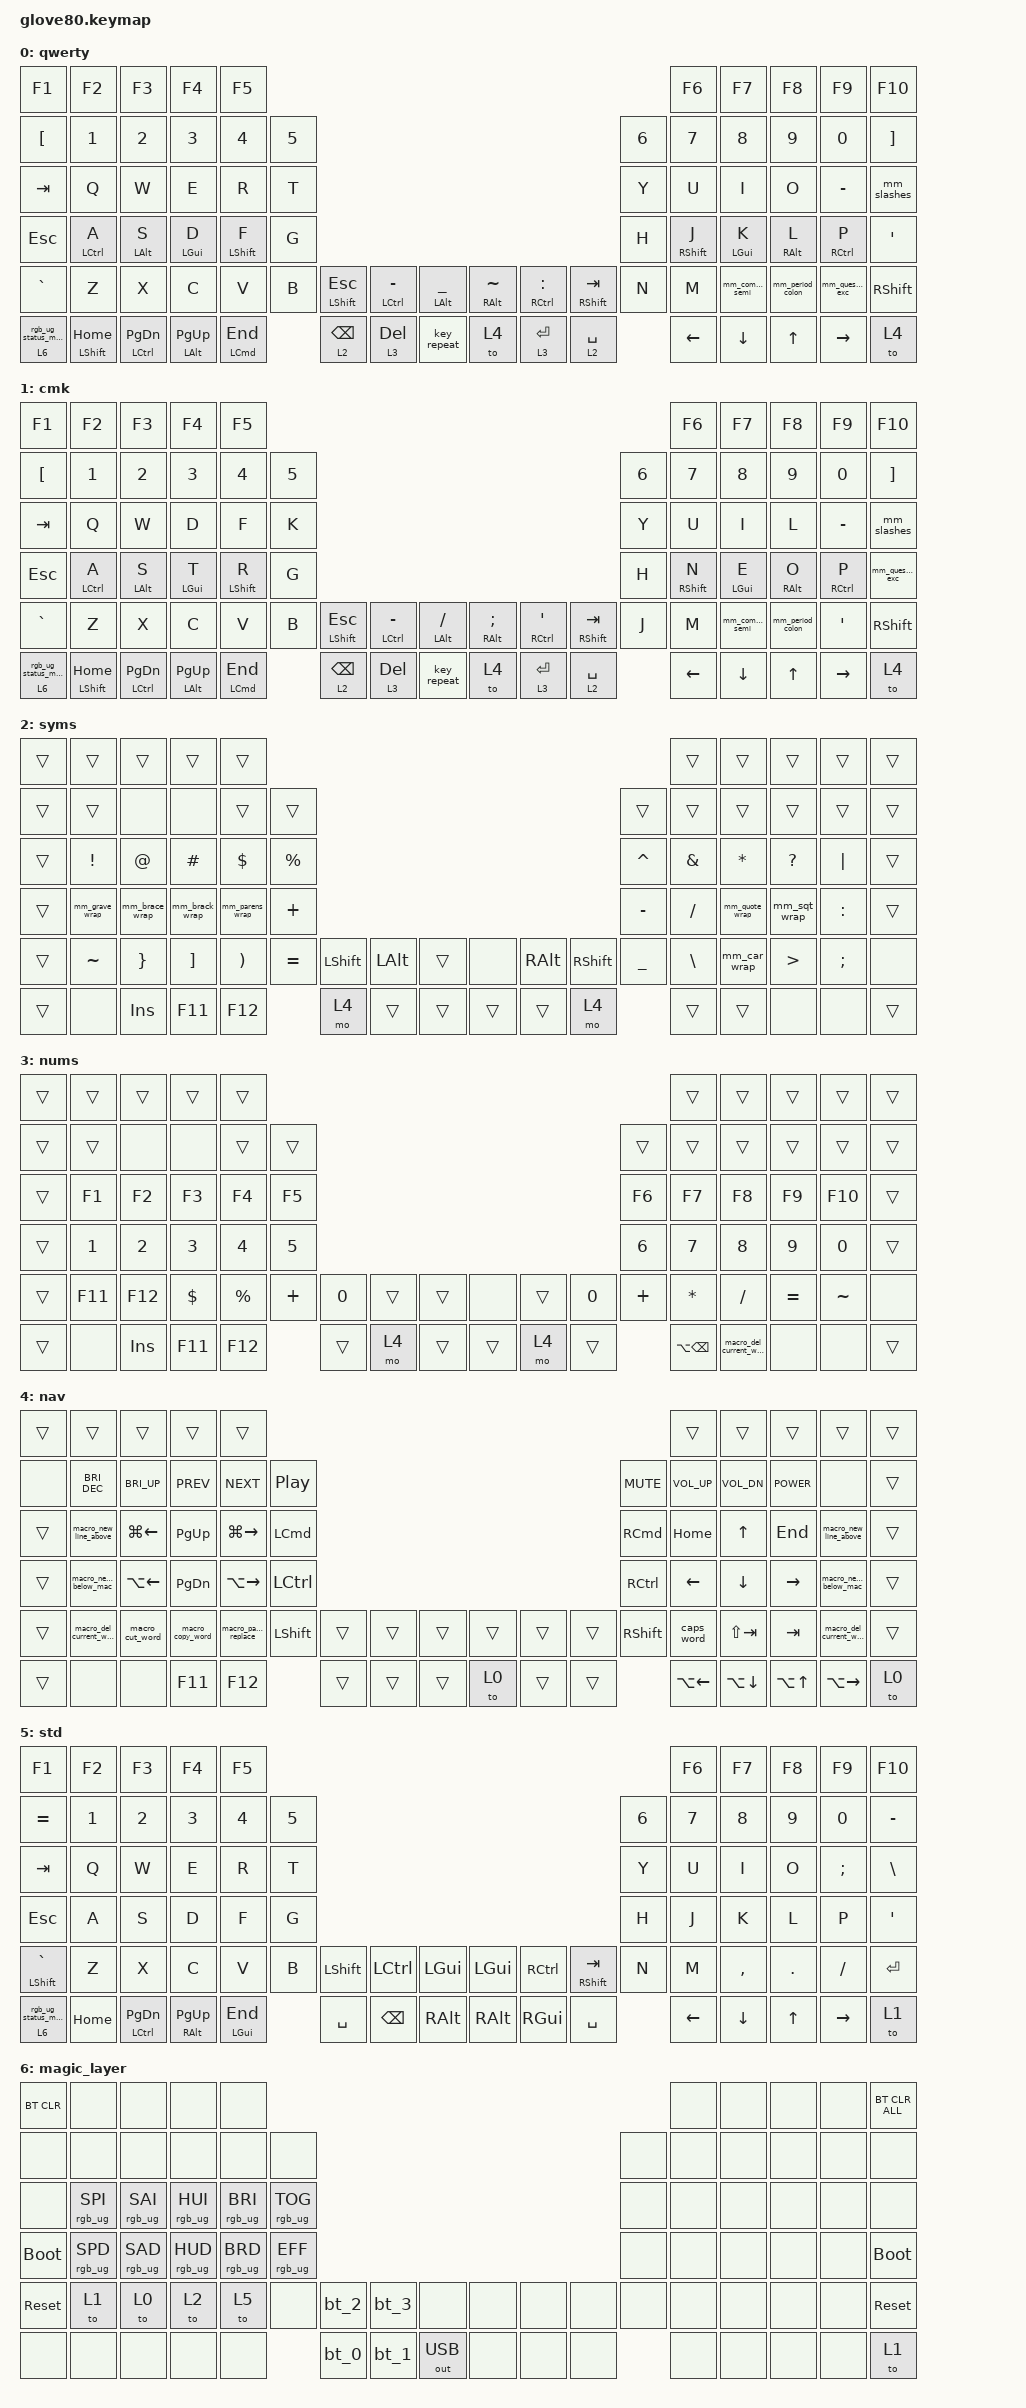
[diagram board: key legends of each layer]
/*
 * Copyright (c) 2020 The ZMK Contributors
 *
 * SPDX-License-Identifier: MIT
 */

#include <behaviors.dtsi>
#include <dt-bindings/zmk/bt.h>
#include <dt-bindings/zmk/keys.h>
#include <dt-bindings/zmk/outputs.h>
#include <dt-bindings/zmk/rgb.h>

#define HYPER LC(LS(LG(LALT)))

// layers

#define DEFAULT 0
#define LOWER 1
#define MAGIC 2
#define FACTORY_TEST 3

&caps_word { continue-list = <UNDERSCORE BACKSPACE DELETE MINUS>; };

/ {
    behaviors {
        // For the "layer" key, it'd nice to be able to use it as either a shift or a toggle.
        // Configure it as a tap dance, so the first tap (or hold) is a &mo and the second tap is a &to

        layer_td: tap_dance_0 {
            compatible = "zmk,behavior-tap-dance";
            label = "LAYER_TAP_DANCE";
            #binding-cells = <0>;
            tapping-term-ms = <200>;
            bindings = <&mo 1>, <&to 5>;
        };

        magic: magic_hold_tap {
            compatible = "zmk,behavior-hold-tap";
            label = "MAGIC_HOLD_TAP";
            #binding-cells = <2>;
            flavor = "tap-preferred";
            tapping-term-ms = <200>;
            bindings = <&mo>, <&rgb_ug_status_macro>;
        };

        ht_kp: ht_kp {
            compatible = "zmk,behavior-hold-tap";
            label = "HT_KP";
            bindings = <&kp>, <&kp>;

            #binding-cells = <2>;
            tapping-term-ms = <300>;
            flavor = "tap-preferred";
            quick-tap-ms = <250>;
        };

        ht_mo: ht_mo {
            compatible = "zmk,behavior-hold-tap";
            label = "HT_MO";
            bindings = <&mo>, <&kp>;

            #binding-cells = <2>;
            tapping-term-ms = <200>;
            flavor = "tap-preferred";
            quick-tap-ms = <200>;
        };

        td_shift_caps_word: td_shift_caps_word {
            compatible = "zmk,behavior-tap-dance";
            label = "TD_SHIFT_CAPS_WORD";
            #binding-cells = <0>;
            bindings = <&kp LEFT_SHIFT>, <&caps_word>;
        };

        ht_kp_lt: ht_kp_lt {
            compatible = "zmk,behavior-hold-tap";
            label = "HT_KP_LT";
            bindings = <&kp>, <&kp>;

            #binding-cells = <2>;
            tapping-term-ms = <250>;
            flavor = "tap-preferred";
            quick-tap-ms = <200>;
            require-prior-idle-ms = <300>;
            hold-trigger-on-release;
            hold-trigger-key-positions = <5 6 7 8 9 17 18 19 20 21 29 30 31 32 33 41 42 43 44 45 59 60 61 62 63 75 76 77 78 79 16 28 40 58 74 55 56 72 73 56 57 58 73 74 69 52 53 54 71 70>;
        };

        ht_kp_rt: ht_kp_rt {
            compatible = "zmk,behavior-hold-tap";
            label = "HT_KP_RT";
            bindings = <&kp>, <&kp>;

            #binding-cells = <2>;
            tapping-term-ms = <250>;
            flavor = "tap-preferred";
            quick-tap-ms = <200>;
            hold-trigger-on-release;
            hold-trigger-key-positions = <53 54 0 1 2 3 4 10 11 12 13 14 15 22 23 24 25 26 27 34 35 36 37 38 39 46 47 48 49 50 51 52 53 54 64 65 66 67 68 69 70 71 72 57 73 56 55 74>;
        };

        ht_sk_kp: ht_sk_kp {
            compatible = "zmk,behavior-hold-tap";
            label = "HT_SK_KP";
            bindings = <&sk>, <&ht_kp>;

            #binding-cells = <2>;
            tapping-term-ms = <200>;
            quick-tap-ms = <150>;
        };

        ht_layer_mo_to: ht_layer_mo_to {
            compatible = "zmk,behavior-hold-tap";
            label = "HT_LAYER_MO_TO";
            bindings = <&mo>, <&to>;

            #binding-cells = <2>;
            tapping-term-ms = <250>;
            quick-tap-ms = <200>;
            require-prior-idle-ms = <300>;
        };

        ht_parens_wrap: ht_parens_wrap {
            compatible = "zmk,behavior-hold-tap";
            label = "HT_PARENS_WRAP";
            bindings = <&macro_parens_wrap>, <&kp>;

            #binding-cells = <2>;
            flavor = "tap-preferred";
            tapping-term-ms = <500>;
        };

        ht_brac_wrap: ht_brac_wrap {
            compatible = "zmk,behavior-hold-tap";
            label = "HT_BRAC_WRAP";
            bindings = <&macro_brack_wrap>, <&kp>;

            #binding-cells = <2>;
            tapping-term-ms = <500>;
            flavor = "tap-preferred";
        };

        ht_carrot_wrap: ht_carrot_wrap {
            compatible = "zmk,behavior-hold-tap";
            label = "HT_CARROT_WRAP";
            bindings = <&macro_carrot_wrap>, <&kp>;

            #binding-cells = <2>;
            tapping-term-ms = <350>;
            flavor = "tap-preferred";
        };

        mm_comma_semi: mm_comma_semi {
            compatible = "zmk,behavior-mod-morph";
            label = "MM_COMMA_SEMI";
            bindings = <&kp COMMA>, <&kp SEMICOLON>;

            #binding-cells = <0>;
            mods = <(MOD_LSFT|MOD_RSFT)>;
        };

        mm_period_colon: mm_period_colon {
            compatible = "zmk,behavior-mod-morph";
            label = "MM_PERIOD_COLON";
            bindings = <&kp PERIOD>, <&kp COLON>;

            #binding-cells = <0>;
            mods = <(MOD_LSFT|MOD_RSFT)>;
        };

        mm_question_exc: mm_question_exc {
            compatible = "zmk,behavior-mod-morph";
            label = "MM_QUESTION_EXC";
            bindings = <&kp QUESTION>, <&kp EXCLAMATION>;

            #binding-cells = <0>;
            mods = <(MOD_LSFT|MOD_RSFT)>;
        };

        mm_slashes: mm_slashes {
            compatible = "zmk,behavior-mod-morph";
            label = "MM_SLASHES";
            bindings = <&kp SLASH>, <&kp BACKSLASH>;

            #binding-cells = <0>;
            mods = <(MOD_LSFT|MOD_RSFT)>;
        };

        mm_minus_plus: mm_minus_plus {
            compatible = "zmk,behavior-mod-morph";
            label = "MM_MINUS_PLUS";
            bindings = <&kp MINUS>, <&kp PLUS>;

            #binding-cells = <0>;
            mods = <(MOD_LSFT|MOD_RSFT)>;
        };

        mm_underscrore_equals: mm_underscrore_equals {
            compatible = "zmk,behavior-mod-morph";
            label = "MM_UNDERSCRORE_EQUALS";
            bindings = <&kp UNDER>, <&kp EQUAL>;

            #binding-cells = <0>;
            mods = <(MOD_LSFT|MOD_RSFT)>;
        };

        mm_brack_wrap: mm_brack_wrap {
            compatible = "zmk,behavior-mod-morph";
            label = "MM_BRACK_WRAP";
            bindings = <&kp LEFT_BRACKET>, <&macro_brack_wrap>;

            #binding-cells = <0>;
            mods = <(MOD_LSFT|MOD_RSFT)>;
        };

        mm_brace_wrap: mm_brace_wrap {
            compatible = "zmk,behavior-mod-morph";
            label = "MM_BRACE_WRAP";
            bindings = <&kp LEFT_BRACE>, <&macro_brace_wrap>;

            #binding-cells = <0>;
            mods = <(MOD_LSFT|MOD_RSFT)>;
        };

        mm_car_wrap: mm_car_wrap {
            compatible = "zmk,behavior-mod-morph";
            label = "MM_CAR_WRAP";
            bindings = <&kp LESS_THAN>, <&macro_carrot_wrap>;

            #binding-cells = <0>;
            mods = <(MOD_LSFT|MOD_RSFT)>;
        };

        mm_parens_wrap: mm_parens_wrap {
            compatible = "zmk,behavior-mod-morph";
            label = "MM_PARENS_WRAP";
            bindings = <&kp LEFT_PARENTHESIS>, <&macro_parens_wrap>;

            #binding-cells = <0>;
            mods = <(MOD_LSFT|MOD_RSFT)>;
        };

        mm_quote_wrap: mm_quote_wrap {
            compatible = "zmk,behavior-mod-morph";
            label = "MM_QUOTE_WRAP";
            bindings = <&kp DOUBLE_QUOTES>, <&macro_quote_wrap>;

            #binding-cells = <0>;
            mods = <(MOD_RSFT|MOD_LSFT)>;
        };

        mm_sqt_wrap: mm_sqt_wrap {
            compatible = "zmk,behavior-mod-morph";
            label = "MM_SQT_WRAP";
            bindings = <&kp SINGLE_QUOTE>, <&macro_sqt_wrap>;

            #binding-cells = <0>;
            mods = <(MOD_LSFT|MOD_RSFT)>;
        };

        mm_grave_wrap: mm_grave_wrap {
            compatible = "zmk,behavior-mod-morph";
            label = "MM_GRAVE_WRAP";
            bindings = <&kp GRAVE>, <&macro_tick_wrap>;

            #binding-cells = <0>;
            mods = <(MOD_LSFT|MOD_RSFT)>;
        };
    };

    macros {
        rgb_ug_status_macro: rgb_ug_status_macro_0 {
            label = "RGB_UG_STATUS";
            compatible = "zmk,behavior-macro";
            #binding-cells = <0>;
            bindings = <&rgb_ug RGB_STATUS>;
        };

        bt_0: bt_profile_macro_0 {
            label = "BT_0";
            compatible = "zmk,behavior-macro";
            #binding-cells = <0>;
            bindings = <&out OUT_BLE &bt BT_SEL 0>;
        };

        bt_1: bt_profile_macro_1 {
            label = "BT_1";
            compatible = "zmk,behavior-macro";
            #binding-cells = <0>;
            bindings = <&out OUT_BLE &bt BT_SEL 1>;
        };

        bt_2: bt_profile_macro_2 {
            label = "BT_2";
            compatible = "zmk,behavior-macro";
            #binding-cells = <0>;
            bindings = <&out OUT_BLE &bt BT_SEL 2>;
        };

        bt_3: bt_profile_macro_3 {
            label = "BT_3";
            compatible = "zmk,behavior-macro";
            #binding-cells = <0>;
            bindings = <&out OUT_BLE &bt BT_SEL 3>;
        };

        macro_new_line_below_mac: macro_new_line_below_mac {
            compatible = "zmk,behavior-macro";
            #binding-cells = <0>;
            bindings = <&kp END &kp ENTER>;
            label = "MACRO_NEW_LINE_BELOW_MAC";
        };

        macro_new_line_above: macro_new_line_above {
            compatible = "zmk,behavior-macro";
            #binding-cells = <0>;
            bindings = <&kp UP_ARROW &kp END &kp ENTER>;
            label = "MACRO_NEW_LINE_ABOVE";
        };

        macro_chopsuey: macro_chopsuey {
            compatible = "zmk,behavior-macro";
            #binding-cells = <0>;
            bindings = <&kp C &kp H &kp N0 &kp P &kp S &kp U &kp N3 &kp Y>;
            label = "MACRO_CHOPSUEY";
        };

        macro_because: macro_because {
            compatible = "zmk,behavior-macro";
            #binding-cells = <0>;
            bindings = <&kp B &kp E &kp C &kp A &kp U &kp S &kp E>;
            label = "MACRO_BECAUSE";
        };

        macro_said: macro_said {
            compatible = "zmk,behavior-macro";
            #binding-cells = <0>;
            bindings = <&kp S &kp A &kp I &kp D>;
            label = "MACRO_SAID";
        };

        macro_would: macro_would {
            compatible = "zmk,behavior-macro";
            #binding-cells = <0>;
            bindings = <&kp W &kp O &kp U &kp L &kp D>;
            label = "MACRO_WOULD";
        };

        macro_sel_current_word: macro_sel_current_word {
            compatible = "zmk,behavior-macro";
            #binding-cells = <0>;
            bindings = <&kp RA(RIGHT) &kp LA(LS(LEFT_ARROW))>;
            label = "MACRO_SEL_CURRENT_WORD";
        };

        macro_del_current_word: macro_del_current_word {
            compatible = "zmk,behavior-macro";
            #binding-cells = <0>;
            bindings = <&kp LA(RIGHT_ARROW) &kp LA(BACKSPACE)>;
            label = "MACRO_DEL_CURRENT_WORD";
        };

        macro_paste_replace: macro_paste_replace {
            compatible = "zmk,behavior-macro";
            #binding-cells = <0>;
            bindings = <&kp LA(RIGHT) &kp LA(LS(LEFT)) &kp LG(P)>;
            label = "MACRO_PASTE_REPLACE";
        };

        macro_please: macro_please {
            compatible = "zmk,behavior-macro";
            #binding-cells = <0>;
            bindings = <&kp P &kp L &kp E &kp A &kp S &kp E>;
            label = "MACRO_PLEASE";
        };

        macro_the: macro_the {
            compatible = "zmk,behavior-macro";
            #binding-cells = <0>;
            bindings = <&kp T &kp H &kp E>;
            label = "MACRO_THE";
        };

        macro_account: macro_account {
            compatible = "zmk,behavior-macro";
            #binding-cells = <0>;
            bindings = <&kp A &kp C &kp C &kp O &kp U &kp N &kp T>;
            label = "MACRO_ACCOUNT";
        };

        macro_question: macro_question {
            compatible = "zmk,behavior-macro";
            #binding-cells = <0>;
            bindings = <&kp Q &kp U &kp E &kp S &kp T &kp I &kp O &kp N>;
            label = "MACRO_QUESTION";
        };

        macro_fearisthemindkiller: macro_fearisthemindkiller {
            compatible = "zmk,behavior-macro";
            #binding-cells = <0>;
            bindings = <&kp F &kp N3 &kp AT &kp R &kp EXCL &kp DLLR &kp T &kp H &kp N3 &kp M &kp N1 &kp N &kp D &kp K &kp N1 &kp L &kp L &kp N3 &kp R>;
            label = "MACRO_FEARISTHEMINDKILLER";
        };

        macro_parens_wrap: macro_parens_wrap {
            compatible = "zmk,behavior-macro";
            #binding-cells = <0>;
            bindings = <&kp RIGHT_ARROW &kp LA(LEFT_ARROW) &kp LEFT_PARENTHESIS &kp LA(RIGHT_ARROW) &kp RPAR>;
            label = "MACRO_PARENS_WRAP";
        };

        macro_brack_wrap: macro_brack_wrap {
            compatible = "zmk,behavior-macro";
            #binding-cells = <0>;
            bindings = <&kp RIGHT_ARROW &kp LA(LEFT_ARROW) &kp LEFT_BRACKET &kp LA(RIGHT) &kp RIGHT_BRACKET>;
            label = "MACRO_BRACK_WRAP";
        };

        macro_brace_wrap: macro_brace_wrap {
            compatible = "zmk,behavior-macro";
            #binding-cells = <0>;
            bindings = <&kp RIGHT_ARROW &kp LA(LEFT_ARROW) &kp LEFT_BRACE &kp LA(RIGHT) &kp RIGHT_BRACE>;
            label = "MACRO_BRACE_WRAP";
        };

        macro_carrot_wrap: ht_carrot_wrap {
            compatible = "zmk,behavior-macro";
            #binding-cells = <0>;
            bindings = <&kp RIGHT &kp LA(LEFT_ARROW) &kp LESS_THAN &kp LA(RIGHT_ARROW) &kp GREATER_THAN>;
            label = "HT_CARROT_WRAP";
        };

        macro_quote_wrap: macro_quote_wrap {
            compatible = "zmk,behavior-macro";
            #binding-cells = <0>;
            bindings = <&kp RIGHT_ARROW &kp LA(LEFT_ARROW) &kp DOUBLE_QUOTES &kp LA(RIGHT_ARROW) &kp DOUBLE_QUOTES>;
            label = "MACRO_QUOTE_WRAP";
        };

        macro_sqt_wrap: macro_sqt_wrap {
            compatible = "zmk,behavior-macro";
            #binding-cells = <0>;
            bindings = <&kp RIGHT_ARROW &kp LA(LEFT_ARROW) &kp GRAVE &kp LA(RIGHT) &kp GRAVE>;
            label = "MACRO_SQT_WRAP";
        };

        macro_trip_ticks: macro_trip_ticks {
            compatible = "zmk,behavior-macro";
            #binding-cells = <0>;
            bindings = <&kp GRAVE &kp GRAVE &kp GRAVE>;
            label = "MACRO_TRIP_TICKS";
        };

        macro_trip_quotes: macro_trip_quotes {
            compatible = "zmk,behavior-macro";
            #binding-cells = <0>;
            bindings = <&kp DOUBLE_QUOTES &kp DQT &kp DQT>;
            label = "MACRO_TRIP_QUOTES";
        };

        macro_tick_wrap: macro_tick_wrap {
            compatible = "zmk,behavior-macro";
            #binding-cells = <0>;
            bindings = <&kp RIGHT_ARROW &kp LA(LEFT_ARROW) &kp SQT &kp LA(RIGHT_ARROW) &kp SQT>;
            label = "MACRO_TICK_WRAP";
        };

        macro_cut_word: macro_cut_word {
            compatible = "zmk,behavior-macro";
            #binding-cells = <0>;
            bindings = <&kp LA(RIGHT) &kp LA(LS(LEFT)) &kp LG(X)>;
            label = "MACRO_CUT_WORD";
        };

        macro_copy_word: macro_copy_word {
            compatible = "zmk,behavior-macro";
            #binding-cells = <0>;
            bindings = <&kp LA(RIGHT) &kp LA(LS(LEFT)) &kp LG(C)>;
            label = "MACRO_COPY_WORD";
        };
    };

    combos {
        compatible = "zmk,combos";

        combo_caps_word {
            bindings = <&caps_word>;
            key-positions = <52 57>;
        };

        combo_z {
            bindings = <&kp Z>;
            key-positions = <47 48>;
            timeout-ms = <75>;
            layers = <1>;
        };

        combo_j {
            bindings = <&kp J>;
            key-positions = <62 61>;
            timeout-ms = <75>;
            layers = <1>;
        };

        combo_lock_nums {
            bindings = <&to 3>;
            key-positions = <70 73>;
            timeout-ms = <100>;
            require-prior-idle-ms = <300>;
            layers = <1>;
        };

        combo_lock_0 {
            bindings = <&to 1>;
            key-positions = <70 73>;
            timeout-ms = <125>;
            require-prior-idle-ms = <300>;
            layers = <5 3 2>;
        };
    };

    keymap {
        compatible = "zmk,keymap";

        qwerty {
            bindings = <
&kp F1      &kp F2                    &kp F3                  &kp F4               &kp F5                                                                                                                                                                                     &kp F6                   &kp F7            &kp F8            &kp F9             &kp F10
&kp LBKT    &kp N1                    &kp N2                  &kp N3               &kp N4             &kp N5                                                                                                                                                          &kp N6  &kp N7                   &kp N8            &kp N9            &kp N0             &kp RBKT
&kp TAB     &kp Q                     &kp W                   &kp E                &kp R              &kp T                                                                                                                                                           &kp Y   &kp U                    &kp I             &kp O             &kp MINUS          &mm_slashes
&kp ESC     &ht_kp_lt LEFT_CONTROL A  &ht_kp_lt LALT S        &ht_kp_lt LGUI D     &ht_kp_lt LSHFT F  &kp G                                                                                                                                                           &kp H   &ht_kp_rt RIGHT_SHIFT J  &ht_kp_rt LGUI K  &ht_kp_rt RALT L  &ht_kp_rt RCTRL P  &kp SINGLE_QUOTE
&kp GRAVE   &kp Z                     &kp X                   &kp C                &kp V              &kp B   &ht_kp LEFT_SHIFT ESCAPE  &ht_kp LEFT_CONTROL MINUS  &ht_kp LEFT_ALT UNDER  &ht_kp RIGHT_ALT TILDE  &ht_kp RIGHT_CONTROL COLON  &ht_kp RIGHT_SHIFT TAB  &kp N   &kp M                    &mm_comma_semi    &mm_period_colon  &mm_question_exc   &kp RSHFT
&magic 6 0  &ht_kp LSHIFT HOME        &ht_kp LCTRL PAGE_DOWN  &ht_kp LALT PAGE_UP  &ht_kp LCMD END            &ht_mo 2 BACKSPACE        &ht_mo 3 DELETE            &key_repeat            &to 4                   &ht_mo 3 RETURN             &ht_mo 2 SPACE                  &kp LEFT                 &kp DOWN          &kp UP            &kp RIGHT          &to 4
            >;
        };

        cmk {
            bindings = <
&kp F1      &kp F2                    &kp F3                  &kp F4               &kp F5                                                                                                                                                                                  &kp F6                   &kp F7            &kp F8            &kp F9             &kp F10
&kp LBKT    &kp N1                    &kp N2                  &kp N3               &kp N4             &kp N5                                                                                                                                                       &kp N6  &kp N7                   &kp N8            &kp N9            &kp N0             &kp RBKT
&kp TAB     &kp Q                     &kp W                   &kp D                &kp F              &kp K                                                                                                                                                        &kp Y   &kp U                    &kp I             &kp L             &kp MINUS          &mm_slashes
&kp ESC     &ht_kp_lt LEFT_CONTROL A  &ht_kp_lt LALT S        &ht_kp_lt LGUI T     &ht_kp_lt LSHFT R  &kp G                                                                                                                                                        &kp H   &ht_kp_rt RIGHT_SHIFT N  &ht_kp_rt LGUI E  &ht_kp_rt RALT O  &ht_kp_rt RCTRL P  &mm_question_exc
&kp GRAVE   &kp Z                     &kp X                   &kp C                &kp V              &kp B   &ht_kp LEFT_SHIFT ESCAPE  &ht_kp LEFT_CONTROL MINUS  &ht_kp LEFT_ALT SLASH  &ht_kp RIGHT_ALT SEMI  &ht_kp RIGHT_CONTROL SQT  &ht_kp RIGHT_SHIFT TAB  &kp J   &kp M                    &mm_comma_semi    &mm_period_colon  &kp SQT            &kp RSHFT
&magic 6 0  &ht_kp LSHIFT HOME        &ht_kp LCTRL PAGE_DOWN  &ht_kp LALT PAGE_UP  &ht_kp LCMD END            &ht_mo 2 BACKSPACE        &ht_mo 3 DELETE            &key_repeat            &to 4                  &ht_mo 3 RETURN           &ht_mo 2 SPACE                  &kp LEFT                 &kp DOWN          &kp UP            &kp RIGHT          &to 4
            >;
        };

        syms {
            bindings = <
&trans  &trans          &trans           &trans             &trans                                                                                                                        &trans         &trans          &trans            &trans     &trans
&trans  &trans          &none            &none              &trans                 &trans                                                                                 &trans          &trans         &trans          &trans            &trans     &trans
&trans  &kp EXCL        &kp AT_SIGN      &kp HASH           &kp DOLLAR             &kp PERCENT                                                                            &kp CARET       &kp AMPERSAND  &kp ASTRK       &kp QUESTION      &kp PIPE   &trans
&trans  &mm_grave_wrap  &mm_brace_wrap   &mm_brack_wrap     &mm_parens_wrap        &kp PLUS                                                                               &kp MINUS       &kp SLASH      &mm_quote_wrap  &mm_sqt_wrap      &kp COLON  &trans
&trans  &kp TILDE       &kp RIGHT_BRACE  &kp RIGHT_BRACKET  &kp RIGHT_PARENTHESIS  &kp EQUAL    &kp LEFT_SHIFT  &kp LALT  &trans  &none   &kp RIGHT_ALT  &kp RIGHT_SHIFT  &kp UNDERSCORE  &kp BACKSLASH  &mm_car_wrap    &kp GREATER_THAN  &kp SEMI   &none
&trans  &none           &kp INS          &kp F11            &kp F12                             &mo 4           &trans    &trans  &trans  &trans         &mo 4                            &trans         &trans          &none             &none      &trans
            >;
        };

        nums {
            bindings = <
&trans  &trans   &trans   &trans      &trans                                                                           &trans             &trans                   &trans     &trans     &trans
&trans  &trans   &none    &none       &trans       &trans                                                    &trans    &trans             &trans                   &trans     &trans     &trans
&trans  &kp F1   &kp F2   &kp F3      &kp F4       &kp F5                                                    &kp F6    &kp F7             &kp F8                   &kp F9     &kp F10    &trans
&trans  &kp N1   &kp N2   &kp N3      &kp N4       &kp N5                                                    &kp N6    &kp N7             &kp N8                   &kp N9     &kp N0     &trans
&trans  &kp F11  &kp F12  &kp DOLLAR  &kp PERCENT  &kp PLUS  &kp N0  &trans  &trans  &none   &trans  &kp N0  &kp PLUS  &kp ASTERISK       &kp SLASH                &kp EQUAL  &kp TILDE  &none
&trans  &none    &kp INS  &kp F11     &kp F12                &trans  &mo 4   &trans  &trans  &mo 4   &trans            &kp LA(BACKSPACE)  &macro_del_current_word  &none      &none      &trans
            >;
        };

        nav {
            bindings = <
&trans  &trans                     &trans              &trans            &trans                                                                                                     &trans          &trans          &trans            &trans                     &trans
&none   &kp C_BRIGHTNESS_DEC       &kp C_BRI_UP        &kp C_PREV        &kp C_NEXT            &kp C_PLAY_PAUSE                                                  &kp C_MUTE         &kp C_VOL_UP    &kp C_VOL_DN    &kp C_POWER       &none                      &trans
&trans  &macro_new_line_above      &kp LG(LEFT)        &kp PAGE_UP       &kp LG(RIGHT)         &kp LCMD                                                          &kp RCMD           &kp HOME        &kp UP_ARROW    &kp END           &macro_new_line_above      &trans
&trans  &macro_new_line_below_mac  &kp LA(LEFT_ARROW)  &kp PAGE_DOWN     &kp LA(RIGHT)         &kp LCTRL                                                         &kp RIGHT_CONTROL  &kp LEFT_ARROW  &kp DOWN_ARROW  &kp RIGHT         &macro_new_line_below_mac  &trans
&trans  &macro_del_current_word    &macro_cut_word     &macro_copy_word  &macro_paste_replace  &kp LEFT_SHIFT    &trans  &trans  &trans  &trans  &trans  &trans  &kp RIGHT_SHIFT    &caps_word      &kp LS(TAB)     &kp TAB           &macro_del_current_word    &trans
&trans  &none                      &none               &kp F11           &kp F12                                 &trans  &trans  &trans  &to 0   &trans  &trans                     &kp LA(LEFT)    &kp LA(DOWN)    &kp LA(UP_ARROW)  &kp LA(RIGHT)              &to 0
            >;
        };

        std {
            bindings = <
&kp F1                 &kp F2    &kp F3                            &kp F4                  &kp F5                                                                                                              &kp F6    &kp F7     &kp F8        &kp F9           &kp F10
&kp EQUAL              &kp N1    &kp N2                            &kp N3                  &kp N4              &kp N5                                                                                  &kp N6  &kp N7    &kp N8     &kp N9        &kp N0           &kp MINUS
&kp TAB                &kp Q     &kp W                             &kp E                   &kp R               &kp T                                                                                   &kp Y   &kp U     &kp I      &kp O         &kp SEMI         &kp BSLH
&kp ESC                &kp A     &kp S                             &kp D                   &kp F               &kp G                                                                                   &kp H   &kp J     &kp K      &kp L         &kp P            &kp SQT
&ht_kp_lt LSHFT GRAVE  &kp Z     &kp X                             &kp C                   &kp V               &kp B   &kp LSHFT  &kp LCTRL  &kp LGUI  &kp LGUI  &kp RCTRL  &ht_kp_rt RIGHT_SHIFT TAB  &kp N   &kp M     &kp COMMA  &kp DOT       &kp FSLH         &kp ENTER
&magic 6 0             &kp HOME  &ht_kp_lt LEFT_CONTROL PAGE_DOWN  &ht_kp_lt RALT PAGE_UP  &ht_kp_lt LGUI END          &kp SPACE  &kp BSPC   &kp RALT  &kp RALT  &kp RGUI   &kp SPACE                          &kp LEFT  &kp DOWN   &kp UP_ARROW  &kp RIGHT_ARROW  &to 1
            >;
        };

        magic_layer {
            bindings = <
&bt BT_CLR   &none            &none            &none            &none                                                                                     &none  &none  &none  &none  &bt BT_CLR_ALL
&none        &none            &none            &none            &none            &none                                                             &none  &none  &none  &none  &none  &none
&none        &rgb_ug RGB_SPI  &rgb_ug RGB_SAI  &rgb_ug RGB_HUI  &rgb_ug RGB_BRI  &rgb_ug RGB_TOG                                                   &none  &none  &none  &none  &none  &none
&bootloader  &rgb_ug RGB_SPD  &rgb_ug RGB_SAD  &rgb_ug RGB_HUD  &rgb_ug RGB_BRD  &rgb_ug RGB_EFF                                                   &none  &none  &none  &none  &none  &bootloader
&sys_reset   &to 1            &to 0            &to 2            &to 5            &none            &bt_2  &bt_3  &none         &none  &none  &none  &none  &none  &none  &none  &none  &sys_reset
&none        &none            &none            &none            &none                             &bt_0  &bt_1  &out OUT_USB  &none  &none  &none         &none  &none  &none  &none  &to 1
            >;
        };
    };

    conditional_layers { compatible = "zmk,conditional-layers"; };
};
